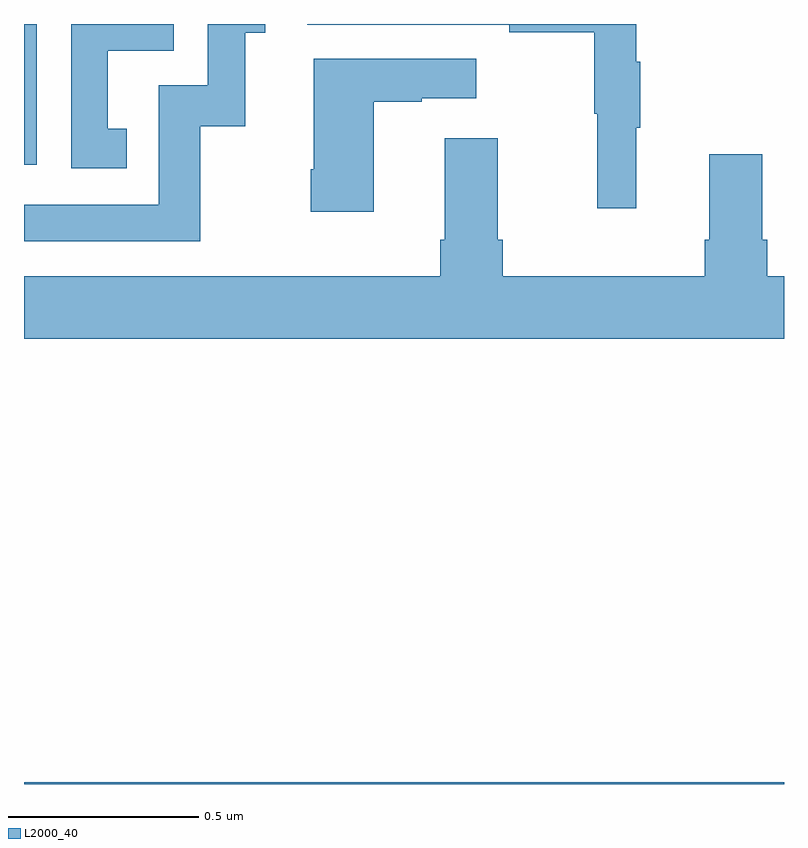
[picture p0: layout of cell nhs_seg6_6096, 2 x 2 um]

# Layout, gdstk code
import gdstk
lib = gdstk.Library(unit=1e-6, precision=1e-09)
def R(c, l, rs):  # rectangles x0, y0, x1, y1
    for r in rs: c.add(gdstk.rectangle(r[:2], r[2:], *l))
def P(c, l, *ps):  # polygons
    for p in ps: c.add(gdstk.Polygon(p, *l))
L2000_40 = (2000, 40)

nhs_seg6_6096 = lib.new_cell('nhs_seg6_6096')
R(nhs_seg6_6096, L2000_40, [(191,943.5,193,943.504), (191,945.129,191.034,945.5)])
P(nhs_seg6_6096, L2000_40, [(192.611,945.227),(192.622,945.227),(192.622,945.401),(192.611,945.401),(192.611,945.5),(191.745,945.5),(191.745,945.498),(192.277,945.498),(192.277,945.478),(192.501,945.478),(192.501,945.264),(192.508,945.264),(192.508,945.015),(192.611,945.015)],
  [(191.27,945.225),(191.221,945.225),(191.221,945.429),(191.394,945.429),(191.394,945.5),(191.124,945.5),(191.124,945.12),(191.27,945.12)],
  [(191.464,945.231),(191.582,945.231),(191.582,945.477),(191.635,945.477),(191.635,945.5),(191.484,945.5),(191.484,945.339),(191.355,945.339),(191.355,945.024),(191,945.024),(191,944.928),(191.464,944.928)],
  [(191.92,945.295),(192.047,945.295),(192.047,945.305),(192.19,945.305),(192.19,945.409),(191.762,945.409),(191.762,945.118),(191.755,945.118),(191.755,945.006),(191.92,945.006)],
  [(193,944.836),(192.956,944.836),(192.956,944.932),(192.943,944.932),(192.943,945.157),(192.803,945.157),(192.803,944.932),(192.791,944.932),(192.791,944.836),(192.26,944.836),(192.26,944.932),(192.247,944.932),(192.247,945.199),(192.107,945.199),(192.107,944.932),(192.095,944.932),(192.095,944.836),(191,944.836),(191,944.672),(193,944.672)])

lib.write_gds('nhs_seg6_6096.gds')
